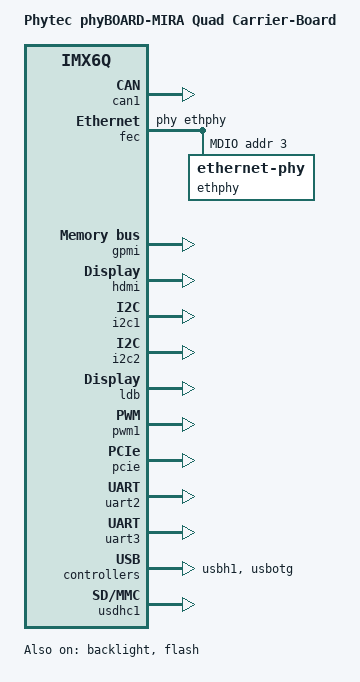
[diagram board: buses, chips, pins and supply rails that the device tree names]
/*
 * Copyright 2014 Christian Hemp, Phytec Messtechnik GmbH
 *
 * The code contained herein is licensed under the GNU General Public
 * License. You may obtain a copy of the GNU General Public License
 * Version 2 or later at the following locations:
 *
 * http://www.opensource.org/licenses/gpl-license.html
 * http://www.gnu.org/copyleft/gpl.html
 */

/dts-v1/;
#include "imx6q.dtsi"
#include "imx6qdl-phytec-phycore-som.dtsi"
#include "imx6qdl-phytec-mira.dtsi"
#include "imx6qdl-phytec-mira-eval-01.dtsi"


/ {
	model = "Phytec phyBOARD-MIRA Quad Carrier-Board";
	compatible = "phytec,imx6q-pbac06", "phytec,imx6qdl-pcm058", "fsl,imx6q";

	chosen {
		linux,stdout-path = &uart2;
	};
};

&backlight {
	status = "okay";
};

&can1 {
	status = "okay";
};

&fec {
	status = "okay";
	phy-handle = <&ethphy>;

	mdio {
		#address-cells = <1>;
		#size-cells = <0>;

		ethphy: ethernet-phy@3 {
			reg = <3>;
			txc-skew-ps = <1680>;
			rxc-skew-ps = <1860>;
		};
	};
};

&flash {
	status = "okay";
	#address-cells = <1>;
	#size-cells = <1>;

	partition@0 {
		label = "barebox";
		reg = <0x0 0x100000>;
	};

	partition@1 {
		label = "barebox-environment";
		reg = <0x100000 0x20000>;
	};

	partition@2 {
		label = "oftree";
		reg = <0x120000 0x20000>;
	};

	partition@3 {
		label = "kernel";
		reg = <0x140000 0x0>;
	};
};

&gpmi {
	status = "okay";
	#address-cells = <1>;
	#size-cells = <1>;

	partition@0 {
		label = "barebox";
		reg = <0x0 0x400000>;
	};

	partition@1 {
		label = "barebox-environment";
		reg = <0x400000 0x100000>;
	};

	partition@2 {
		label = "oftree";
		reg = <0x500000 0x100000>;
	};

	partition@3 {
		label = "kernel";
		reg = <0x600000 0x800000>;
	};

	partition@4 {
		label = "root";
		reg = <0xe00000 0x0>;
	};

};

&hdmi {
	status = "okay";
};

&i2c1 {
	status = "okay";
};

&i2c2 {
	status = "okay";
};

&ldb {
	status = "okay";

	lvds-channel@0 {
		status = "okay";
	};
};

&pwm1 {
	status = "okay";
};

&pcie {
	status = "okay";
};

&uart2 {
	status = "okay";
};

&uart3 {
	status = "okay";
};

&usbh1 {
	status = "okay";
};

&usbotg {
	status = "okay";
};

&usdhc1 {
	status = "okay";
};
